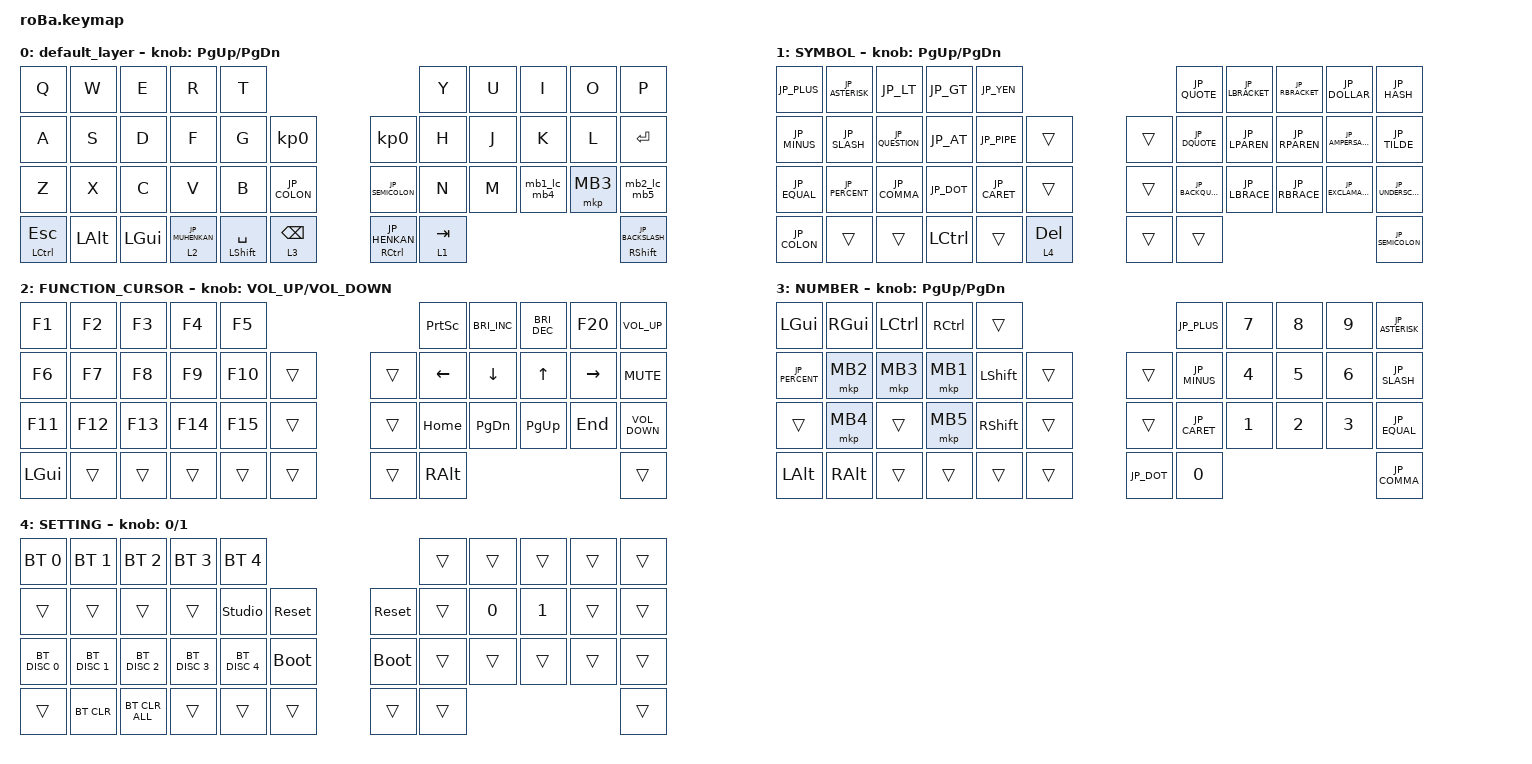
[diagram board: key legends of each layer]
#include <behaviors.dtsi>
#include <dt-bindings/zmk/bt.h>
#include <dt-bindings/zmk/keys.h>
#include <dt-bindings/zmk/pointing.h>
#include "keys_jp.h"

&mt {
    flavor = "hold-preferred";
    tapping-term-ms = <200>;
    quick-tap-ms = <200>;
};
&lt {
    flavor = "hold-preferred";
    tapping-term-ms = <200>;
    quick-tap-ms = <200>;
};
&trackball {
    scroll-layers = <2>;
    workspace_actions {
        layers = <0>;
        modifiers = <LEFT_GUI>;
        tick = <75>;
        tap-ms = <30>;
        wait-ms = <333>;
        bindings = <&kp PAGE_UP>, <&kp PAGE_DOWN>, <&none>, <&none>;
    };
    zoom_actions {
        layers = <0>;
        modifiers = <LEFT_CONTROL>;
        tick = <75>;
        tap-ms = <30>;
        wait-ms = <333>;
        bindings = <&kp NUMBER_0>, <&kp NUMBER_0>, <&kp JP_PLUS>, <&kp JP_MINUS>;
    };
    zoom_alt_actions {
        layers = <0>;
        modifiers = <LEFT_ALT>;
        tick = <75>;
        tap-ms = <30>;
        wait-ms = <333>;
        bindings = <&kp LC(NUMBER_0)>, <&kp LC(NUMBER_0)>, <&kp LC(JP_CARET)>, <&kp LC(JP_MINUS)>;
    };
    copy_paste_actions {
        layers = <0>;
        modifiers = <LEFT_SHIFT>;
        tick = <75>;
        tap-ms = <30>;
        wait-ms = <333>;
        bindings = <&kp END>, <&kp HOME>, <&kp LC(C)>, <&kp LC(V)>;
    };
};

/ {
    behaviors {
        mb1_lc_mb4: mb1_lc_mb4_node {
            compatible = "zmk,behavior-mod-morph";
            #binding-cells = <0>;
            bindings = <&mkp MB1>, <&mkp MB4>;
            mods = <(MOD_LCTL)>;
        };
        mb2_lc_mb5: mb2_lc_mb5_node {
            compatible = "zmk,behavior-mod-morph";
            #binding-cells = <0>;
            bindings = <&mkp MB2>, <&mkp MB5>;
            mods = <(MOD_LCTL)>;
        };
    };

    keymap {
        compatible = "zmk,keymap";


        default_layer {
            bindings = <
&kp Q                    &kp W         &kp E         &kp R              &kp T                                                                &kp Y      &kp U   &kp I        &kp O     &kp P
&kp A                    &kp S         &kp D         &kp F              &kp G             &kp KP_N0                     &kp KP_N0            &kp H      &kp J   &kp K        &kp L     &kp ENTER
&kp Z                    &kp X         &kp C         &kp V              &kp B             &kp JP_COLON                  &kp JP_SEMICOLON     &kp N      &kp M   &mb1_lc_mb4  &mkp MB3  &mb2_lc_mb5
&mt LEFT_CONTROL ESCAPE  &kp LEFT_ALT  &kp LEFT_GUI  &lt 2 JP_MUHENKAN  &mt LSHIFT SPACE  &lt 3 BSPC                    &mt RCTRL JP_HENKAN  &lt 1 TAB                                 &mt RSHIFT JP_BACKSLASH
            >;
            sensor-bindings = <&inc_dec_kp PG_UP PAGE_DOWN>;
        };

        SYMBOL {
            bindings = <
&kp JP_PLUS   &kp JP_ASTERISK  &kp JP_LT        &kp JP_GT   &kp JP_YEN                                       &kp JP_QUOTE      &kp JP_LBRACKET  &kp JP_RBRACKET  &kp JP_DOLLAR       &kp JP_HASH
&kp JP_MINUS  &kp JP_SLASH     &kp JP_QUESTION  &kp JP_AT   &kp JP_PIPE   &trans                     &trans  &kp JP_DQUOTE     &kp JP_LPAREN    &kp JP_RPAREN    &kp JP_AMPERSAND    &kp JP_TILDE
&kp JP_EQUAL  &kp JP_PERCENT   &kp JP_COMMA     &kp JP_DOT  &kp JP_CARET  &trans                     &trans  &kp JP_BACKQUOTE  &kp JP_LBRACE    &kp JP_RBRACE    &kp JP_EXCLAMATION  &kp JP_UNDERSCORE
&kp JP_COLON  &trans           &trans           &kp LCTRL   &trans        &lt 4 DEL                  &trans  &trans                                                                  &kp JP_SEMICOLON
            >;
            sensor-bindings = <&inc_dec_kp PG_UP PAGE_DOWN>;
        };

        FUNCTION_CURSOR {
            bindings = <
&kp F1        &kp F2   &kp F3   &kp F4   &kp F5                                   &kp PRINTSCREEN  &kp C_BRIGHTNESS_INC  &kp C_BRIGHTNESS_DEC  &kp F20          &kp C_VOLUME_UP
&kp F6        &kp F7   &kp F8   &kp F9   &kp F10  &trans                  &trans  &kp LEFT_ARROW   &kp DOWN_ARROW        &kp UP_ARROW          &kp RIGHT_ARROW  &kp C_MUTE
&kp F11       &kp F12  &kp F13  &kp F14  &kp F15  &trans                  &trans  &kp HOME         &kp PAGE_DOWN         &kp PAGE_UP           &kp END          &kp C_VOLUME_DOWN
&kp LEFT_GUI  &trans   &trans   &trans   &trans   &trans                  &trans  &kp RIGHT_ALT                                                                 &trans
            >;
            sensor-bindings = <&inc_dec_kp C_VOLUME_UP C_VOLUME_DOWN>;
        };

        NUMBER {
            bindings = <
&kp LEFT_GUI    &kp RIGHT_GUI  &kp LEFT_CONTROL  &kp RIGHT_CONTROL  &trans                                               &kp JP_PLUS   &kp NUMBER_7  &kp NUMBER_8  &kp NUMBER_9  &kp JP_ASTERISK
&kp JP_PERCENT  &mkp MB2       &mkp MB3          &mkp MB1           &kp LEFT_SHIFT   &trans                  &trans      &kp JP_MINUS  &kp NUMBER_4  &kp NUMBER_5  &kp NUMBER_6  &kp JP_SLASH
&trans          &mkp MB4       &trans            &mkp MB5           &kp RIGHT_SHIFT  &trans                  &trans      &kp JP_CARET  &kp NUMBER_1  &kp NUMBER_2  &kp NUMBER_3  &kp JP_EQUAL
&kp LEFT_ALT    &kp RIGHT_ALT  &trans            &trans             &trans           &trans                  &kp JP_DOT  &kp NUMBER_0                                            &kp JP_COMMA
            >;
            sensor-bindings = <&inc_dec_kp PG_UP PAGE_DOWN>;
        };

        SETTING {
            bindings = <
&bt BT_SEL 0   &bt BT_SEL 1   &bt BT_SEL 2    &bt BT_SEL 3   &bt BT_SEL 4                                              &trans  &trans  &trans  &trans  &trans
&trans         &trans         &trans          &trans         &studio_unlock  &sys_reset                   &sys_reset   &trans  &kp N0  &kp N1  &trans  &trans
&bt BT_DISC 0  &bt BT_DISC 1  &bt BT_DISC 2   &bt BT_DISC 3  &bt BT_DISC 4   &bootloader                  &bootloader  &trans  &trans  &trans  &trans  &trans
&trans         &bt BT_CLR     &bt BT_CLR_ALL  &trans         &trans          &trans                       &trans       &trans                          &trans
            >;
            sensor-bindings = <&inc_dec_kp N0 N1>;
        };
    };








};
